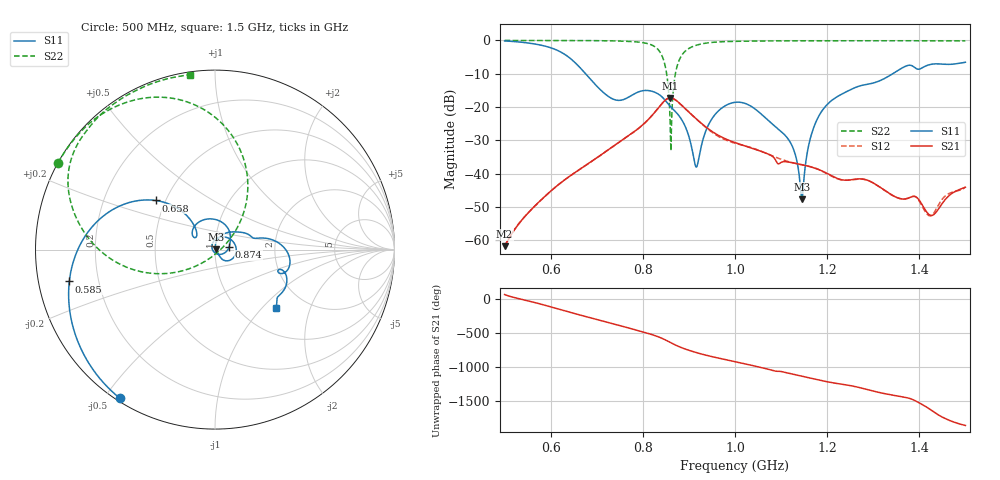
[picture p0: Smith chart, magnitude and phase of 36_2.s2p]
! TOUCHSTONE file generated by CST MICROWAVE STUDIO
! Date and time: Fri Oct  2 16:19:23 2020
! Project name: Scenario_1_Free_Space_out_of_line.cst
! Parameters = {Lambda=346.42; Step_1=17.321; dy1=-259.295; dx1=346; L_HA=400; MT=2.54; Rad_Dielectric=30; Rad_Lower=7.3; Rad_Upper=30; a_HA=580; a_WG=246; b_HA=500; b_WG=121; c_HA=0; c_WG=187; d_feed=85; h_feed=15; h_lower=18; h_upper=40}
! Header version: 2018
! Port assignment regex: !\s*Touchstone port\s*([0-9]+)\s*=\s*(CST MWS port|CST DS port)\s*([0-9]+|Zmin|Zmax)\s*\(\"(.*)\"\)(\s*mode\s*([0-9]+))?.*
! Touchstone port assignment:
! Touchstone port 1 = CST MWS port 1 ("")
! Touchstone port 2 = CST MWS port 2 ("")
# GHz S DB R 50
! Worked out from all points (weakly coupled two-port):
!   1003 points, 500 MHz to 1.5 GHz, reference 50 ohm
!   highest |S21| = -17.25 dB at 860 MHz (marker M1); lowest = -61.7 dB at 500 MHz (marker M2)
!   lowest |S11| = -47.7 dB at 1.145 GHz (marker M3), VSWR 1.01, Z = 50.4 + j0.0822 ohm
!   |S11| at or under -10 dB: 675.8 MHz to 1.342 GHz (666.3 MHz wide, 66 % of centre)
!   |S22| runs from -33.1 to 0.0 dB; largest |S21 - S12| = 0.0031
!   S11 on the Smith chart (normalised r, x): 500 MHz: 0.01, -0.55; 585 MHz: 0.09, -0.11; 658 MHz: 0.44, +0.30; 874 MHz: 1.17, +0.04; 1.5 GHz: 1.43, -1.20
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0.5  -0.15 -122.5  -61.72 62.9  -61.67 62.7  -0.01 151.2
0.585  -1.61 -167.7  -47.08 -89.1  -47.13 -89.3  -0.02 145.3
0.658  -7.35 140.4  -39.14 133.0  -39.14 133.1  -0.04 139.3
0.667  -8.65 135.8  -38.31 117.1  -38.31 117.1  -0.04 138.4
0.739  -17.79 141.7  -31.44 -10.6  -31.44 -10.6  -0.15 129.5
0.797  -15.16 128.9  -25.65 -118.5  -25.65 -118.5  -0.60 115.3
0.834  -16.12 74.7  -20.17 162.9  -20.17 162.9  -2.87 88.2
0.849  -18.03 48.9  -17.88 118.3  -17.87 118.3  -7.98 62.7
0.86  -19.85 33.0  -17.25 80.0  -17.24 80.0  -29.36 5.2
0.874  -21.84 11.4  -18.18 33.4  -18.17 33.4  -7.91 -161.3
0.916  -38.00 -147.1  -23.54 -67.1  -23.56 -67.2  -1.44 161.7
0.949  -23.70 78.3  -27.20 -124.7  -27.44 -124.8  -0.60 150.6
1  -18.56 4.0  -30.64 160.3  -30.83 161.6  -0.27 140.7
1.113  -29.15 -55.0  -36.41 -3.8  -36.23 -7.8  -0.11 128.9
1.13  -33.85 -55.5  -36.84 -29.8  -36.85 -30.7  -0.10 127.4
1.145  -47.66 11.4  -37.29 -52.3  -37.28 -51.7  -0.10 126.2
1.167  -27.68 81.4  -38.04 -85.7  -37.98 -84.9  -0.10 124.4
1.212  -17.78 49.1  -40.77 -149.2  -40.93 -148.8  -0.09 120.9
1.334  -10.68 12.4  -45.81 39.8  -45.86 40.0  -0.09 111.7
1.392  -8.33 -20.1  -46.89 -55.1  -46.91 -55.1  -0.10 107.2
1.427  -7.13 -24.7  -52.51 164.2  -52.44 163.6  -0.11 104.4
1.5  -6.55 -43.9  -44.03 -54.0  -44.03 -54.0  -0.14 98.2
